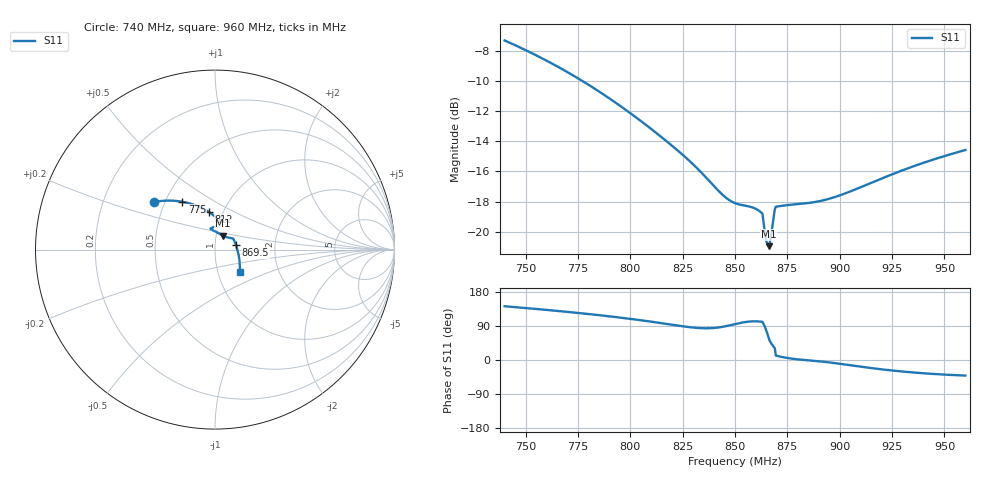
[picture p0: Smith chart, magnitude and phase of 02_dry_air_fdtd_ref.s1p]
! ISAC_868 Rev E.5 3D-FDTD Reference S11 at /BR_Q (2_Enclosed_Nom_0p80mm_ASA (er=4.4, Dry Air))
! Reference plane: /BR_Q (includes C_M1=3.6p, L_M1=8.2n||C_MZ=0.5p, C_M2=4.3p elliptic Pi-filter)
! Unloaded AE1 f0 = 869.0 MHz | Standalone |S11(866.5)| = -23.69 dB | Cascaded |S11(866.5)| = -20.83 dB
# GHz S RI R 50.0
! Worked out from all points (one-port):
!   442 points, 740 MHz to 960 MHz, reference 50 ohm
!   lowest |S11| = -20.9 dB at 866 MHz (marker M1), VSWR 1.20, Z = 54 + j8.47 ohm
!   |S11| at or under -10 dB: 776.9 MHz to end of sweep
!   S11 on the Smith chart (normalised r, x): 740 MHz: 0.44, +0.29; 775 MHz: 0.61, +0.36; 812 MHz: 0.85, +0.38; 869.5 MHz: 1.27, +0.06; 960 MHz: 1.28, -0.33
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0.74  -0.338 0.2655
0.754  -0.2748 0.2727
0.7675  -0.2141 0.271
0.775  -0.1812 0.2664
0.795  -0.098 0.2426
0.812  -0.0354 0.2106
0.8225  -0.00309 0.1862
0.83  0.0128 0.1668
0.836  0.0168 0.1508
0.8445  0.00466 0.1317
0.85  -0.0103 0.1241
0.857  -0.0242 0.1188
0.8625  -0.0222 0.1138
0.863  -0.0213 0.1131
0.8631  -0.0211 0.113
0.865  0.021 0.0907
0.8655  0.0326 0.0844
0.866  0.0446 0.0778
0.867  0.0655 0.0691
0.868  0.0833 0.0653
0.8685  0.0924 0.0634
0.8695  0.1186 0.0246
0.8705  0.1195 0.0218
0.8775  0.1229 0.00706
0.8915  0.1265 -0.00928
0.905  0.1321 -0.0323
0.9325  0.138 -0.0853
0.96  0.1406 -0.1226
